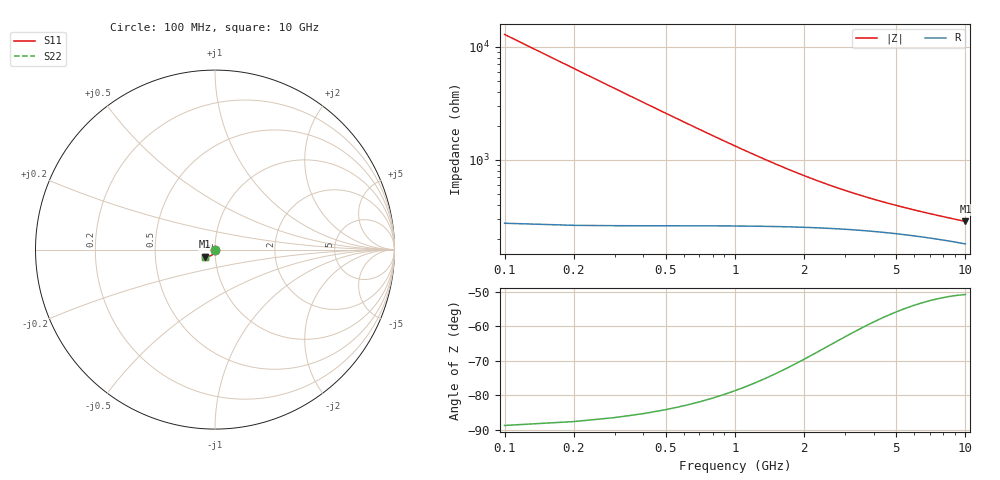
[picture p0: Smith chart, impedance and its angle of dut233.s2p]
! Touchstone file exported from HFSS 2024.1.0
!  File:  C:/UserFiles/LocalFiles/RDL_TSV_Batchsim/temp_TSV1_233_1779388880.aedt
!  Generated:  02:45:41 AM May 22, 2026
!  Design:  TSV1
!  Project:  temp_TSV1_233_1779388880
!  Setup:  Setup1
!  Solution:  Sweep
! Variables:
!  dtsv = 14.58um
!  hbump = 3um
!  htsv = 69.83um
!  lrdl = 252.1521522um
!  p = 40
!  p1 = 40.05um
!  t = 500um
!  trdl = 3um
!  wrdl = 24.89489489um
# GHz S MA R 50.000000
! Terminal data exported
! Port[1] = TSV22_T1
! Port[2] = TSV22_T2
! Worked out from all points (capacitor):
!   100 points, 100 MHz to 10 GHz, reference 50 ohm
!   read as one part in shunt: C = 124 fF near 100 MHz
!   lowest |Z| = 286 ohm at 10 GHz (marker M1)
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0.1  0.001698 -88.7  0.9999 -0.1  0.9999 -0.1  0.001698 -88.7
! Gamma 0 0 0 0
! Port Impedance 50 0 50 0
0.2  0.00339 -91.5  0.9997 -0.3  0.9997 -0.3  0.00339 -91.5
0.3  0.005076 -93.4  0.9995 -0.4  0.9995 -0.4  0.005076 -93.4
0.4  0.006752 -95.0  0.9992 -0.5  0.9992 -0.5  0.006752 -95.0
0.5  0.008414 -96.6  0.9989 -0.6  0.9989 -0.6  0.008414 -96.6
0.6  0.01006 -98.0  0.9984 -0.7  0.9984 -0.7  0.01006 -98.0
0.7  0.01168 -99.5  0.9979 -0.9  0.9979 -0.9  0.01168 -99.5
0.8  0.01328 -100.8  0.9973 -1.0  0.9973 -1.0  0.01328 -100.8
0.9  0.01485 -102.2  0.9967 -1.1  0.9967 -1.1  0.01485 -102.2
1.1  0.01791 -104.8  0.9952 -1.3  0.9952 -1.3  0.01791 -104.8
1.4  0.02223 -108.4  0.9928 -1.6  0.9928 -1.6  0.02223 -108.4
1.6  0.02492 -110.7  0.991 -1.8  0.991 -1.8  0.02492 -110.7
1.8  0.02747 -112.9  0.9892 -1.9  0.9892 -1.9  0.02747 -112.9
2.1  0.03099 -115.9  0.9864 -2.2  0.9864 -2.2  0.03099 -115.9
2.5  0.03519 -119.4  0.9827 -2.4  0.9827 -2.4  0.03519 -119.4
2.9  0.03886 -122.6  0.9792 -2.7  0.9792 -2.7  0.03886 -122.6
3.4  0.04283 -125.9  0.9751 -2.9  0.9751 -2.9  0.04283 -125.9
4.2  0.04804 -130.2  0.9693 -3.2  0.9693 -3.2  0.04804 -130.2
5.1  0.05272 -133.9  0.9638 -3.6  0.9638 -3.6  0.05272 -133.9
6.7  0.05909 -138.6  0.9562 -4.0  0.9562 -4.0  0.05909 -138.6
8.4  0.06416 -142.0  0.9501 -4.5  0.9501 -4.5  0.06416 -142.0
10  0.06787 -144.4  0.9458 -4.9  0.9458 -4.9  0.06787 -144.4
